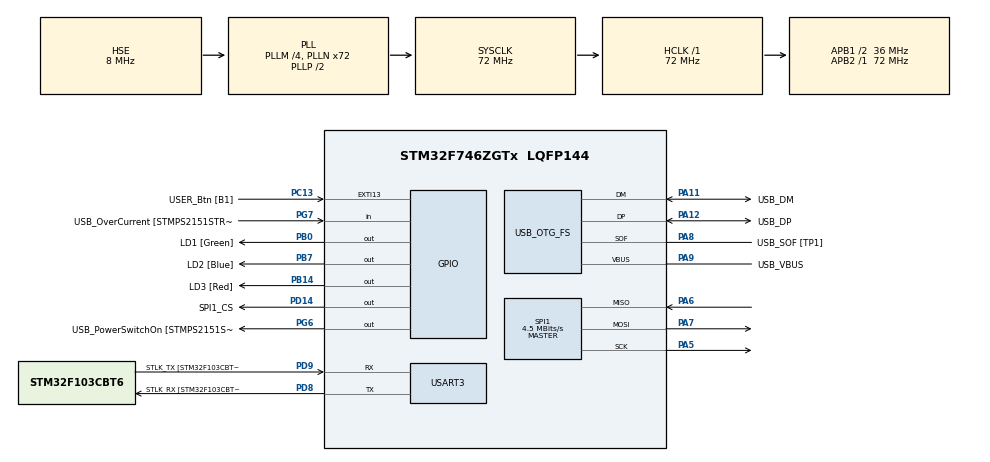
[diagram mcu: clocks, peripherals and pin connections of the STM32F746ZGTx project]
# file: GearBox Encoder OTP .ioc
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Mcu.Family=STM32F7
Mcu.Name=STM32F746ZGTx
Mcu.Package=LQFP144
NVIC.PriorityGroup=NVIC_PRIORITYGROUP_4
PA1.GPIO_Label=RMII_REF_CLK [LAN8742A-CZ-TR_REFCLK0]
PA1.Signal=ETH_REF_CLK
PA10.GPIO_Label=USB_ID
PA10.Signal=USB_OTG_FS_ID
PA11.GPIO_Label=USB_DM
PA11.Mode=Device_Only
PA11.Signal=USB_OTG_FS_DM
PA12.GPIO_Label=USB_DP
PA12.Mode=Device_Only
PA12.Signal=USB_OTG_FS_DP
PA13.GPIO_Label=TMS
PA13.Mode=Serial_Wire
PA13.Signal=SYS_JTMS-SWDIO
PA14.GPIO_Label=TCK
PA14.Mode=Serial_Wire
PA14.Signal=SYS_JTCK-SWCLK
PA2.GPIO_Label=RMII_MDIO [LAN8742A-CZ-TR_MDIO]
PA2.Signal=ETH_MDIO
PA5.Mode=Full_Duplex_Master
PA5.Signal=SPI1_SCK
PA6.Mode=Full_Duplex_Master
PA6.Signal=SPI1_MISO
PA7.Mode=Full_Duplex_Master
PA7.Signal=SPI1_MOSI
PA8.GPIO_Label=USB_SOF [TP1]
PA8.Mode=Activate_SOF_FS
PA8.Signal=USB_OTG_FS_SOF
PA9.GPIO_Label=USB_VBUS
PA9.Mode=Activate_VBUS
PA9.Signal=USB_OTG_FS_VBUS
PB0.GPIO_Label=LD1 [Green]
PB0.Signal=GPIO_Output
PB13.GPIO_Label=RMII_TXD1 [LAN8742A-CZ-TR_TXD1]
PB13.Signal=ETH_TXD1
PB14.GPIO_Label=LD3 [Red]
PB14.Signal=GPIO_Output
PB3.GPIO_Label=SW0
PB3.Signal=SYS_JTDO-SWO
PB7.GPIO_Label=LD2 [Blue]
PB7.Signal=GPIO_Output
PC1.GPIO_Label=RMII_MDC [LAN8742A-CZ-TR_MDC]
PC1.Signal=ETH_MDC
PC13.GPIO_Label=USER_Btn [B1]
PC13.Signal=GPXTI13
PC14/OSC32_IN.Mode=LSE-External-Oscillator
PC14/OSC32_IN.Signal=RCC_OSC32_IN
PC15/OSC32_OUT.Mode=LSE-External-Oscillator
PC15/OSC32_OUT.Signal=RCC_OSC32_OUT
PD14.GPIO_Label=SPI1_CS
PD14.Signal=GPIO_Output
PD8.GPIO_Label=STLK_RX [STM32F103CBT6_PA3]
PD8.GPIO_PuPd=GPIO_PULLUP
PD8.Mode=Asynchronous
PD8.Signal=USART3_TX
PD9.GPIO_Label=STLK_TX [STM32F103CBT6_PA2]
PD9.GPIO_PuPd=GPIO_PULLUP
PD9.Mode=Asynchronous
PD9.Signal=USART3_RX
PG11.GPIO_Label=RMII_TX_EN [LAN8742A-CZ-TR_TXEN]
PG11.Signal=ETH_TX_EN
PG13.GPIO_Label=RMII_TXD0 [LAN8742A-CZ-TR_TXD0]
PG13.Signal=ETH_TXD0
PG6.GPIO_Label=USB_PowerSwitchOn [STMPS2151STR_EN]
PG6.Signal=GPIO_Output
PG7.GPIO_Label=USB_OverCurrent [STMPS2151STR_FAULT]
PG7.Signal=GPIO_Input
PH0/OSC_IN.GPIO_Label=MCO [STM32F103CBT6_PA8]
PH0/OSC_IN.Mode=HSE-External-Clock-Source
PH0/OSC_IN.Signal=RCC_OSC_IN
PH1/OSC_OUT.Mode=HSE-External-Clock-Source
PH1/OSC_OUT.Signal=RCC_OSC_OUT
ProjectManager.HeapSize=0x200
ProjectManager.StackSize=0x400
ProjectManager.TargetToolchain=STM32CubeIDE
RCC.48MHZClocksFreq_Value=24000000
RCC.AHBFreq_Value=72000000
RCC.APB1CLKDivider=RCC_HCLK_DIV2
RCC.APB1Freq_Value=36000000
RCC.APB1TimFreq_Value=72000000
RCC.APB2Freq_Value=72000000
RCC.APB2TimFreq_Value=72000000
RCC.CortexFreq_Value=72000000
RCC.HCLKFreq_Value=72000000
RCC.HSE_VALUE=8000000
RCC.HSI_VALUE=16000000
RCC.PLLM=4
RCC.PLLMUL=RCC_PLL_MUL9
RCC.PLLN=72
RCC.PLLQ=3
RCC.PRESCALERUSB=RCC_USBCLKSOURCE_PLL_DIV1_5
RCC.SYSCLKFreq_VALUE=72000000
RCC.SYSCLKSource=RCC_SYSCLKSOURCE_PLLCLK
RCC.SYSCLKSourceVirtual=RCC_SYSCLKSOURCE_PLLCLK
RCC.USBFreq_Value=48000000
RCC.VCOOutputFreq_Value=144000000
SPI1.BaudRatePrescaler=SPI_BAUDRATEPRESCALER_16
SPI1.CLKPhase=SPI_PHASE_2EDGE
SPI1.CalculateBaudRate=4.5 MBits/s
SPI1.DataSize=SPI_DATASIZE_8BIT
SPI1.Direction=SPI_DIRECTION_2LINES
SPI1.Mode=SPI_MODE_MASTER
SPI1.VirtualType=VM_MASTER
USART3.VirtualMode-Asynchronous=VM_ASYNC
USB_OTG_FS.VirtualMode=Device_Only
board=NUCLEO-F746ZG

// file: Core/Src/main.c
/* USER CODE BEGIN Header */
/**
  ******************************************************************************
  * @file           : main.c
  * @brief          : Main program body
  ******************************************************************************
  * @attention
  *
  * Copyright (c) 2023 STMicroelectronics.
  * All rights reserved.
  *
  * This software is licensed under terms that can be found in the LICENSE file
  * in the root directory of this software component.
  * If no LICENSE file comes with this software, it is provided AS-IS.
  *
  ******************************************************************************
  */
/* USER CODE END Header */
#include "main.h"

/* USER CODE BEGIN Includes */
#include "AS5x47P.h"
/* USER CODE END Includes */

SPI_HandleTypeDef hspi1;

UART_HandleTypeDef huart3;

PCD_HandleTypeDef hpcd_USB_OTG_FS;

/* USER CODE BEGIN PV */
Settings1 settings1Reg;
Settings1 settings1_afterSetting;
Settings2 settings2Reg;
Settings2 settings2_afterSetting;
Errfl errorRegister;
Prog progRegister;
Diaagc diagRegister;
Zposl zposLRegister;
Zposl zposL_afterSetting;
Zposm zposMRegister;
Zposm zposM_afterSetting;
Prog progRegister1;

ReadDataFrame readdataframe;
Angle angle;

uint8_t abiSettingsOK = 0;
uint16_t zeroPos;
uint8_t zeroRegisterUpdated = 0;
uint16_t startingAngle16Bit= 0;
float startingAngleMech = 0;
int startingCNT_val = 0;
float angleMech_encCnt = 0;
uint16_t encoderCNT = 0;
uint16_t angleData = 0;
uint16_t angleMech = 0;
uint16_t counter = 0;
//prog permanently

uint8_t prog_permanently = 0;
uint8_t breakout  = 0;
uint16_t checkReadyToProg = 0;
uint16_t checkingreadyforOTP_test = 0;
uint16_t waitingForOTP = 0;
uint16_t reading_back_OTP_fuses = 0;
uint16_t settings1FactoryBitSet = 0;
/* USER CODE END PV */

void SystemClock_Config(void);
static void MX_GPIO_Init(void);
static void MX_USART3_UART_Init(void);
static void MX_USB_OTG_FS_PCD_Init(void);
static void MX_SPI1_Init(void);

int main(void)
{

  /* MCU Configuration--------------------------------------------------------*/

  /* Reset of all peripherals, Initializes the Flash interface and the Systick. */
  HAL_Init();

  /* Configure the system clock */
  SystemClock_Config();

  /* Initialize all configured peripherals */
  MX_GPIO_Init();
  MX_USART3_UART_Init();
  MX_USB_OTG_FS_PCD_Init();
  MX_SPI1_Init();
  /* USER CODE BEGIN 2 */

  //SET UP ABI mode.
  settings1Reg.raw = AS5047_readRegister(SETTINGS1_REG,0);
  settings2Reg.raw = AS5047_readRegister(SETTINGS2_REG,0);
  errorRegister.raw = AS5047_readRegister(ERRFL_REG,0);
  progRegister.raw = AS5047_readRegister(PROG_REG,0);
  diagRegister.raw = AS5047_readRegister(DIAGAGC_REG,0);
  zposLRegister.raw = AS5047_readRegister(ZPOSL_REG,0);
  zposMRegister.raw = AS5047_readRegister(ZPOSM_REG,0);

  /************INSTRUCTIONS*******************
   * First time you run , see the settings1Reg Value. It will be 32769, and that is
   * the unprogrammed value of the chip.
   * Then set prog_permanently == 1, keep watching the variables and break out
   * from stage to stage using the breakout variable. Once prog_permanently becomes zero,
   * the OTP is done. Then remove the power and plug it back. when you now see settings1Reg
   * value it should be something else, in this case 237
   *
   * If u have code on the nucleo which writes the value into the IC, then by the time u
   * go into debug mode the value has already been written into the IC and ull
   * see that in settings1Reg.
   *
   */

  Settings1 settings1;
  Settings2 settings2;
  Zposl zposl ;
  Zposm zposm ;

  /* Uncomment below after u confirm the IC has not already been programmed to write the
   * values through OTP into the IC. After OTP, comment it again to check if the IC
   * has been programmed. u need to comment, flash the IC, and then remove the power
   *
   */

  //These are the values that we are going to program permenanently
  // we write and then read back the values to make sure they are what we think they are

  /*settings1.values.factorySetting = 0;
  settings1.values.not_used = 0;
  settings1.values.dir = 1;  // By definition A leads B for CW direction. for us seen from the front, rotating in a CW direction gives A leading B.
  settings1.values.uvw_abi = 1; // 0-ABI with W pin as PWM, 1-UVW with I pin as PWM
  settings1.values.daecdis = 0;
  settings1.values.abibin = 1; // ABI-decimal or binary.
  //for low rpm do without DAE, though the PWM interface dowesnt have DAE
  settings1.values.dataselect = 1; //1 is cordic Angle, 0 is dynamic angle compensation. Remove for very slow speeds.
  settings1.values.pwmon = 1; //sets pwm on.

  settings2.values.abires = 0; //2000 steps per rev, again not used if we use PWM
  settings2.values.hys = 0; // we re doing > 1600 steps/rev so  0.53. but anyway wont get applied becuase we using only PWM
  settings2.values.uvwpp = 0; //pole pairs - not used for this application
  //enable error values
  zposl.values.zposl = 0;
  zposl.values.compHerrorEn = 1;
  zposl.values.compLerrorEn = 1;

  zposm.values.zposm = 0;

  AS5047_writeRegister(SETTINGS1_REG, settings1.raw);
  HAL_Delay(100);
  AS5047_writeRegister(SETTINGS2_REG, settings2.raw);
  HAL_Delay(100);
  AS5047_writeRegister(ZPOSL_REG, zposl.raw);
  HAL_Delay(100);
  AS5047_writeRegister(ZPOSM_REG, zposm.raw);
  HAL_Delay(100);

  //REad back to make sure thats what uve got
  settings1_afterSetting.raw = AS5047_readRegister(SETTINGS1_REG,0);
  settings2_afterSetting.raw = AS5047_readRegister(SETTINGS2_REG,0);
  zposL_afterSetting.raw = AS5047_readRegister(ZPOSL_REG,0);
  zposM_afterSetting.raw = AS5047_readRegister(ZPOSM_REG,0);
*/

  /* USER CODE END 2 */

  /* Infinite loop */
  /* USER CODE BEGIN WHILE */
  while (1)
  {
	  HAL_Delay(100);
	  readdataframe.raw = AS5047_SPI_Read(ANGLE_READ_FRAME,1);//AS5047_readRegister(ANGLE_REG,1);
	  angle.raw = readdataframe.values.data;
	  angleData =  angle.values.cordicang;
	  angleMech = angleData*360.0/16384;

	  if (prog_permanently){

		  breakout = 0;
		  while(breakout!=1)
		  {
			  settings1FactoryBitSet +=1;
		  }

		  progRegister1.values.progen = 1;
		  AS5047_writeRegister(PROG_REG,progRegister1.raw);
		  //Read back the register
		  progRegister.raw = AS5047_readRegister(PROG_REG,0);
		  breakout = 0;
		  while(breakout!=1)
		  {
			  checkReadyToProg +=1;
		  }

			  progRegister1.values.progen = 0;
			  progRegister1.values.progotp = 1;
			  AS5047_writeRegister(PROG_REG,progRegister1.raw);

			  breakout = 0;
			  while(breakout!=1){
				  waitingForOTP +=1;
				  //wait till progOTPgoes back to zero
				  progRegister.raw = AS5047_readRegister(PROG_REG,0);
				  HAL_Delay(100);
			  }

			  //set all registers as 0
			  settings1.raw = 0;
			  AS5047_writeRegister(SETTINGS1_REG, settings1.raw);
			  settings2.raw = 0;
			  AS5047_writeRegister(SETTINGS2_REG,settings2.raw);
			  zposl.raw = 0;
			  AS5047_writeRegister(ZPOSL_REG,zposl.raw);
			  zposm.raw = 0;
			  AS5047_writeRegister(ZPOSM_REG,zposm.raw);

			  progRegister1.values.progen = 0;
			  progRegister1.values.progotp = 0;
			  progRegister1.values.progver = 1;
			  AS5047_writeRegister(PROG_REG,progRegister1.raw);
			  breakout = 0;
			  while(breakout!=1){
				  progRegister.raw = AS5047_readRegister(PROG_REG,0);
				  checkingreadyforOTP_test +=1;
				  HAL_Delay(100);
			  }

			  progRegister1.values.progen = 0;
			  progRegister1.values.progotp = 0;
			  progRegister1.values.progver = 0;
			  progRegister1.values.otpref = 1;
			  AS5047_writeRegister(PROG_REG,progRegister1.raw);
			  HAL_Delay(10);

			  zposLRegister.raw = AS5047_readRegister(ZPOSL_REG,0);
			  zposMRegister.raw = AS5047_readRegister(ZPOSM_REG,0);
			  settings1Reg.raw = AS5047_readRegister(SETTINGS1_REG,0);
			  settings2Reg.raw = AS5047_readRegister(SETTINGS2_REG,0);

			  breakout = 0;
			  while(breakout!=1){
				  reading_back_OTP_fuses+=1;
			  }

			  prog_permanently = 0;

	  }
	  counter ++;

    /* USER CODE END WHILE */

  }
}

void SystemClock_Config(void)
{
  RCC_OscInitTypeDef RCC_OscInitStruct = {0};
  RCC_ClkInitTypeDef RCC_ClkInitStruct = {0};

  /** Configure LSE Drive Capability
  */
  HAL_PWR_EnableBkUpAccess();

  /** Configure the main internal regulator output voltage
  */
  __HAL_RCC_PWR_CLK_ENABLE();
  __HAL_PWR_VOLTAGESCALING_CONFIG(PWR_REGULATOR_VOLTAGE_SCALE3);

  /** Initializes the RCC Oscillators according to the specified parameters
  * in the RCC_OscInitTypeDef structure.
  */
  RCC_OscInitStruct.OscillatorType = RCC_OSCILLATORTYPE_HSE;
  RCC_OscInitStruct.HSEState = RCC_HSE_BYPASS;
  RCC_OscInitStruct.PLL.PLLState = RCC_PLL_ON;
  RCC_OscInitStruct.PLL.PLLSource = RCC_PLLSOURCE_HSE;
  RCC_OscInitStruct.PLL.PLLM = 4;
  RCC_OscInitStruct.PLL.PLLN = 72;
  RCC_OscInitStruct.PLL.PLLP = RCC_PLLP_DIV2;
  RCC_OscInitStruct.PLL.PLLQ = 3;
  if (HAL_RCC_OscConfig(&RCC_OscInitStruct) != HAL_OK)
  {
    Error_Handler();
  }

  /** Initializes the CPU, AHB and APB buses clocks
  */
  RCC_ClkInitStruct.ClockType = RCC_CLOCKTYPE_HCLK|RCC_CLOCKTYPE_SYSCLK
                              |RCC_CLOCKTYPE_PCLK1|RCC_CLOCKTYPE_PCLK2;
  RCC_ClkInitStruct.SYSCLKSource = RCC_SYSCLKSOURCE_PLLCLK;
  RCC_ClkInitStruct.AHBCLKDivider = RCC_SYSCLK_DIV1;
  RCC_ClkInitStruct.APB1CLKDivider = RCC_HCLK_DIV2;
  RCC_ClkInitStruct.APB2CLKDivider = RCC_HCLK_DIV1;

  if (HAL_RCC_ClockConfig(&RCC_ClkInitStruct, FLASH_LATENCY_2) != HAL_OK)
  {
    Error_Handler();
  }
}

static void MX_SPI1_Init(void)
{

  /* SPI1 parameter configuration*/
  hspi1.Instance = SPI1;
  hspi1.Init.Mode = SPI_MODE_MASTER;
  hspi1.Init.Direction = SPI_DIRECTION_2LINES;
  hspi1.Init.DataSize = SPI_DATASIZE_8BIT;
  hspi1.Init.CLKPolarity = SPI_POLARITY_LOW;
  hspi1.Init.CLKPhase = SPI_PHASE_2EDGE;
  hspi1.Init.NSS = SPI_NSS_SOFT;
  hspi1.Init.BaudRatePrescaler = SPI_BAUDRATEPRESCALER_16;
  hspi1.Init.FirstBit = SPI_FIRSTBIT_MSB;
  hspi1.Init.TIMode = SPI_TIMODE_DISABLE;
  hspi1.Init.CRCCalculation = SPI_CRCCALCULATION_DISABLE;
  hspi1.Init.CRCPolynomial = 7;
  hspi1.Init.CRCLength = SPI_CRC_LENGTH_DATASIZE;
  hspi1.Init.NSSPMode = SPI_NSS_PULSE_DISABLE;
  if (HAL_SPI_Init(&hspi1) != HAL_OK)
  {
    Error_Handler();
  }

}

static void MX_USART3_UART_Init(void)
{

  huart3.Instance = USART3;
  huart3.Init.BaudRate = 115200;
  huart3.Init.WordLength = UART_WORDLENGTH_8B;
  huart3.Init.StopBits = UART_STOPBITS_1;
  huart3.Init.Parity = UART_PARITY_NONE;
  huart3.Init.Mode = UART_MODE_TX_RX;
  huart3.Init.HwFlowCtl = UART_HWCONTROL_NONE;
  huart3.Init.OverSampling = UART_OVERSAMPLING_16;
  huart3.Init.OneBitSampling = UART_ONE_BIT_SAMPLE_DISABLE;
  huart3.AdvancedInit.AdvFeatureInit = UART_ADVFEATURE_NO_INIT;
  if (HAL_UART_Init(&huart3) != HAL_OK)
  {
    Error_Handler();
  }

}

static void MX_USB_OTG_FS_PCD_Init(void)
{

  hpcd_USB_OTG_FS.Instance = USB_OTG_FS;
  hpcd_USB_OTG_FS.Init.dev_endpoints = 6;
  hpcd_USB_OTG_FS.Init.speed = PCD_SPEED_FULL;
  hpcd_USB_OTG_FS.Init.dma_enable = DISABLE;
  hpcd_USB_OTG_FS.Init.phy_itface = PCD_PHY_EMBEDDED;
  hpcd_USB_OTG_FS.Init.Sof_enable = ENABLE;
  hpcd_USB_OTG_FS.Init.low_power_enable = DISABLE;
  hpcd_USB_OTG_FS.Init.lpm_enable = DISABLE;
  hpcd_USB_OTG_FS.Init.vbus_sensing_enable = ENABLE;
  hpcd_USB_OTG_FS.Init.use_dedicated_ep1 = DISABLE;
  if (HAL_PCD_Init(&hpcd_USB_OTG_FS) != HAL_OK)
  {
    Error_Handler();
  }

}

static void MX_GPIO_Init(void)
{
  GPIO_InitTypeDef GPIO_InitStruct = {0};

  /* GPIO Ports Clock Enable */
  __HAL_RCC_GPIOC_CLK_ENABLE();
  __HAL_RCC_GPIOH_CLK_ENABLE();
  __HAL_RCC_GPIOA_CLK_ENABLE();
  __HAL_RCC_GPIOB_CLK_ENABLE();
  __HAL_RCC_GPIOD_CLK_ENABLE();
  __HAL_RCC_GPIOG_CLK_ENABLE();

  /*Configure GPIO pin Output Level */
  HAL_GPIO_WritePin(GPIOB, LD1_Pin|LD3_Pin|LD2_Pin, GPIO_PIN_RESET);

  /*Configure GPIO pin Output Level */
  HAL_GPIO_WritePin(SPI1_CS_GPIO_Port, SPI1_CS_Pin, GPIO_PIN_RESET);

  /*Configure GPIO pin Output Level */
  HAL_GPIO_WritePin(USB_PowerSwitchOn_GPIO_Port, USB_PowerSwitchOn_Pin, GPIO_PIN_RESET);

  /*Configure GPIO pin : USER_Btn_Pin */
  GPIO_InitStruct.Pin = USER_Btn_Pin;
  GPIO_InitStruct.Mode = GPIO_MODE_IT_RISING;
  GPIO_InitStruct.Pull = GPIO_NOPULL;
  HAL_GPIO_Init(USER_Btn_GPIO_Port, &GPIO_InitStruct);

  /*Configure GPIO pin : RMII_MDC_Pin */
  GPIO_InitStruct.Pin = RMII_MDC_Pin;
  GPIO_InitStruct.Mode = GPIO_MODE_AF_PP;
  GPIO_InitStruct.Pull = GPIO_NOPULL;
  GPIO_InitStruct.Speed = GPIO_SPEED_FREQ_VERY_HIGH;
  GPIO_InitStruct.Alternate = GPIO_AF11_ETH;
  HAL_GPIO_Init(RMII_MDC_GPIO_Port, &GPIO_InitStruct);

  /*Configure GPIO pins : RMII_REF_CLK_Pin RMII_MDIO_Pin */
  GPIO_InitStruct.Pin = RMII_REF_CLK_Pin|RMII_MDIO_Pin;
  GPIO_InitStruct.Mode = GPIO_MODE_AF_PP;
  GPIO_InitStruct.Pull = GPIO_NOPULL;
  GPIO_InitStruct.Speed = GPIO_SPEED_FREQ_VERY_HIGH;
  GPIO_InitStruct.Alternate = GPIO_AF11_ETH;
  HAL_GPIO_Init(GPIOA, &GPIO_InitStruct);

  /*Configure GPIO pins : LD1_Pin LD3_Pin LD2_Pin */
  GPIO_InitStruct.Pin = LD1_Pin|LD3_Pin|LD2_Pin;
  GPIO_InitStruct.Mode = GPIO_MODE_OUTPUT_PP;
  GPIO_InitStruct.Pull = GPIO_NOPULL;
  GPIO_InitStruct.Speed = GPIO_SPEED_FREQ_LOW;
  HAL_GPIO_Init(GPIOB, &GPIO_InitStruct);

  /*Configure GPIO pin : RMII_TXD1_Pin */
  GPIO_InitStruct.Pin = RMII_TXD1_Pin;
  GPIO_InitStruct.Mode = GPIO_MODE_AF_PP;
  GPIO_InitStruct.Pull = GPIO_NOPULL;
  GPIO_InitStruct.Speed = GPIO_SPEED_FREQ_VERY_HIGH;
  GPIO_InitStruct.Alternate = GPIO_AF11_ETH;
  HAL_GPIO_Init(RMII_TXD1_GPIO_Port, &GPIO_InitStruct);

  /*Configure GPIO pin : SPI1_CS_Pin */
  GPIO_InitStruct.Pin = SPI1_CS_Pin;
  GPIO_InitStruct.Mode = GPIO_MODE_OUTPUT_PP;
  GPIO_InitStruct.Pull = GPIO_NOPULL;
  GPIO_InitStruct.Speed = GPIO_SPEED_FREQ_LOW;
  HAL_GPIO_Init(SPI1_CS_GPIO_Port, &GPIO_InitStruct);

  /*Configure GPIO pin : USB_PowerSwitchOn_Pin */
  GPIO_InitStruct.Pin = USB_PowerSwitchOn_Pin;
  GPIO_InitStruct.Mode = GPIO_MODE_OUTPUT_PP;
  GPIO_InitStruct.Pull = GPIO_NOPULL;
  GPIO_InitStruct.Speed = GPIO_SPEED_FREQ_LOW;
  HAL_GPIO_Init(USB_PowerSwitchOn_GPIO_Port, &GPIO_InitStruct);

  /*Configure GPIO pin : USB_OverCurrent_Pin */
  GPIO_InitStruct.Pin = USB_OverCurrent_Pin;
  GPIO_InitStruct.Mode = GPIO_MODE_INPUT;
  GPIO_InitStruct.Pull = GPIO_NOPULL;
  HAL_GPIO_Init(USB_OverCurrent_GPIO_Port, &GPIO_InitStruct);

  /*Configure GPIO pins : RMII_TX_EN_Pin RMII_TXD0_Pin */
  GPIO_InitStruct.Pin = RMII_TX_EN_Pin|RMII_TXD0_Pin;
  GPIO_InitStruct.Mode = GPIO_MODE_AF_PP;
  GPIO_InitStruct.Pull = GPIO_NOPULL;
  GPIO_InitStruct.Speed = GPIO_SPEED_FREQ_VERY_HIGH;
  GPIO_InitStruct.Alternate = GPIO_AF11_ETH;
  HAL_GPIO_Init(GPIOG, &GPIO_InitStruct);

}

void Error_Handler(void)
{
  __disable_irq();
  while (1)
  {
  }
}
